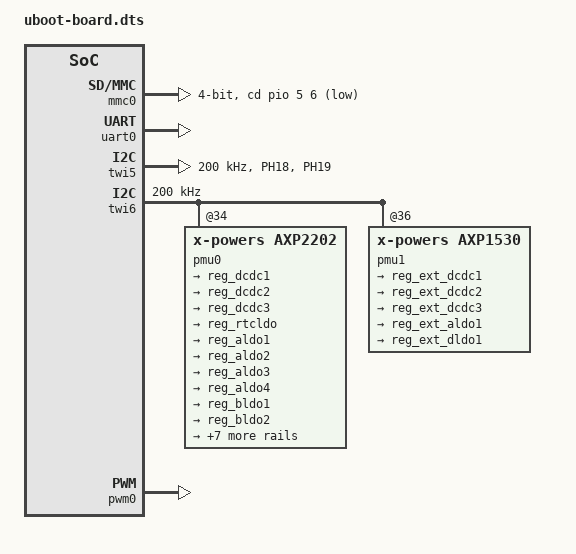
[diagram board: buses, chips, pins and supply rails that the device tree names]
// SPDX-License-Identifier: (GPL-2.0+ or MIT)
/*
 * Allwinner Technology CO., Ltd. sun65iw1p1 platform
 *
 * modify base on juno.dts
 */

&target {
	auto_fel = <0>;
	dragonboard_test = <0>;	/*1:support card boot dragonboard; 0:not support card boot dragonboard*/
};

&pio {
	spi0_pins_default: spi0@0 {
		pins = "PC0", "PC2", "PC3"; /* clk, mosi, miso */
		function = "spi0";
		drive-strength = <10>;
	};

	spi0_pins_cs: spi0@1 {
		pins = "PC1", "PC4", "PC5";
		function = "spi0";
		drive-strength = <10>;
		bias-pull-up;   /* cs, hold, wp should be pulled up */
	};

	twi5_pins_a: twi5@0 {
		allwinner,pins = "PH18", "PH19";
		allwinner,pname = "twi5_scl", "twi5_sda";
		allwinner,function = "twi5";
		allwinner,muxsel = <2>;
		allwinner,drive = <1>;
		allwinner,pull = <1>;
	};

	twi5_pins_b: twi5@1 {
		allwinner,pins = "PH18", "PH19";
		allwinner,function = "gpio_out";
		allwinner,muxsel = <1>;
		allwinner,drive = <1>;
		allwinner,pull = <1>;
	};

};

&mmc0 {
	cd-gpios = <&pio 5 6 GPIO_ACTIVE_LOW>;	/* PF6 */
	bus-width = <4>;
	status = "okay";
};

&mmc2 {
	bus-width = <4>;
	cap-mmc-highspeed;
	mmc-ddr-1_8v;
	max-frequency = <50000000>;
	sdc_ex_dly_used = <2>;
    status = "disabled";
};

&spi0  {
	pinctrl-0 = <&spi0_pins_default>, <&spi0_pins_cs>;
	pinctrl-names = "default";
	status = "disabled";

	flash@0 {
		#address-cells = <1>;
		#size-cells = <1>;
		compatible = "jedec,spi-nor";
		reg = <0>;
		spi-max-frequency = <10000000>;
		spi-rx-bus-width = <4>;
		spi-tx-bus-width = <4>;
		status = "disabled";
	};
};

&uart0 {
	pinctrl-names = "default";
	pinctrl-0 = <&uart0_ph_pins>;
	status = "okay";
};

&platform {
	eraseflag   = <1>;
	next_work   = <3>;
	debug_mode  = <1>;
};

&target {
	boot_clock = <1008>;	/*CPU boot frequency, Unit: MHz*/
	storage_type = <0xffffffff>; /*boot medium, 0-nand, 1-card0, 2-card2, -1(defualt)auto scan*/
	burn_key = <1>;		/*1:support burn key; 0:not support burn key*/
	dragonboard_test = <0>;	/*1:support card boot dragonboard; 0:not support card boot dragonboard*/
};

&power_sply {
	battery_exist = <0>;
};

&charger0 {
};

&twi5 {
	clock-frequency = <200000>;
	pinctrl-0 = <&twi5_pins_a>;
	pinctrl-1 = <&twi5_pins_b>;
	twi-supply = <&reg_cldo3>;
	status = "okay";
};

&twi6 {
	clock-frequency = <200000>;
	pinctrl-0 = <&s_twi0_pins_a>;
	pinctrl-1 = <&s_twi0_pins_b>;
	status = "okay";
	twi-supply = <&reg_aldo3>;
	pmu0: pmu@34 {
		compatible = "x-powers,axp2202";
		regulator0: regulators@0 {
			reg_dcdc1: dcdc1 {
				regulator-name = "axp2202-dcdc1";
			};
			reg_dcdc2: dcdc2 {
				regulator-name = "axp2202-dcdc2";
			};
			reg_dcdc3: dcdc3 {
				regulator-name = "axp2202-dcdc3";
			};
			reg_rtcldo: rtcldo {
				/* RTC_LDO is a fixed, always-on regulator */
				regulator-name = "axp2202-rtcldo";
			};
			reg_aldo1: aldo1 {
				regulator-name = "axp2202-aldo1";
			};
			reg_aldo2: aldo2 {
				regulator-name = "axp2202-aldo2";
			};
			reg_aldo3: aldo3 {
				regulator-name = "axp2202-aldo3";
			};
			reg_aldo4: aldo4 {
				regulator-name = "axp2202-aldo4";
			};
			reg_bldo1: bldo1 {
				regulator-name = "axp2202-bldo1";
			};
			reg_bldo2: bldo2 {
				regulator-name = "axp2202-bldo2";
			};
			reg_bldo3: bldo3 {
				regulator-name = "axp2202-bldo3";
			};
			reg_bldo4: bldo4 {
				regulator-name = "axp2202-bldo4";
			};
			reg_cldo1: cldo1 {
				regulator-name = "axp2202-cldo1";
				regulator-min-microvolt = <500000>;
				regulator-max-microvolt = <3500000>;
				regulator-enable-ramp-delay = <1000>;
			};
			reg_cldo2: cldo2 {
				regulator-name = "axp2202-cldo2";
			};
			reg_cldo3: cldo3 {
				regulator-name = "axp2202-cldo3";
			};
			reg_cldo4: cldo4 {
				regulator-name = "axp2202-cldo4";
				regulator-min-microvolt = <500000>;
				regulator-max-microvolt = <3500000>;
				regulator-enable-ramp-delay = <1000>;
			};
			reg_cpusldo: cpusldo {
				regulator-name = "axp2202-cpusldo";
			};
		};
	};

	pmu1: pmu@36 {
		compatible = "x-powers,axp1530";
		status = "okay";

		regulator1: regulators@1 {
			reg_ext_dcdc1: ext_dcdc1 {
				regulator-name = "axp1530-ext_dcdc1";
			};
			reg_ext_dcdc2: ext_dcdc2 {
				regulator-name = "axp1530-ext_dcdc2";
			};
			reg_ext_dcdc3: ext_dcdc3 {
				regulator-name = "axp1530-ext_dcdc3";
			};
			reg_ext_aldo1: ext_aldo1 {
				regulator-name = "axp1530-ext_aldo1";
			};
			reg_ext_dldo1: ext_dldo1 {
				regulator-name = "axp1530-ext_ldo1";
			};
		};
	};
};

&card0_boot_para {  /* Avoid dtc compiling warnings. @TODO: Developer should modify this to the actual value */
	/* reg = <0x0 0x2 0x0 0x0>;  [> Avoid dtc compiling warnings. @TODO: Developer should modify this to the actual value <] */
	device_type = "card0_boot_para";
	card_ctrl = <0x0>;
	card_high_speed = <0x1>;
	card_line = <0x4>;
	clk_mmc = "sdmmc0_mod";
	pll-0 = "hosc";
	pll-1 = "pll_periph1_400m";
	pll-2 = "pll_periph1_300m";
	clk_type = "typ1";
};

&card2_boot_para {
	/*
	* Avoid dtc compiling warnings.
	* @TODO: Developer should modify this to the actual value
	*/
	reg = <0x0 0x3 0x0 0x0>;
	device_type = "card2_boot_para";
	card_ctrl = <0x2>;
	card_high_speed = <0x1>;
	card_line = <0x8>;
	clk_mmc = "sdmmc2_mod";
	pll-0 = "hosc";
	pll-1 = "pll_periph1_800m";
	pll-2 = "pll_periph1_600m";
	sdc_ex_dly_used = <0x2>;
	sdc_tm4_hs200_max_freq = <100>;
	sdc_tm4_hs400_max_freq = <100>;
	sdc_tm4_win_th = <0x7>;
	sdc_io_1v8 = <0x1>;
	sdc_type = "tm4";
	clk_type = "typ1";
};

&pwm0_pin_active {
		allwinner,pins = "PD23";
		allwinner,function = "pwm0";
		allwinner,muxsel = <0x2>;
		allwinner,drive = <3>;
		allwinner,pull = <2>;
};

&pwm0_pin_sleep {
		allwinner,pins = "PD23";
		allwinner,function = "io_disabled";
		allwinner,muxsel = <0xf>;
		allwinner,drive = <3>;
		allwinner,pull = <2>;
};

&pwm0 {
	pinctrl-names = "active","sleep";
	pinctrl-0 = <&pwm0_pin_active>;
	pinctrl-1 = <&pwm0_pin_sleep>;
	status = "okay";
};
